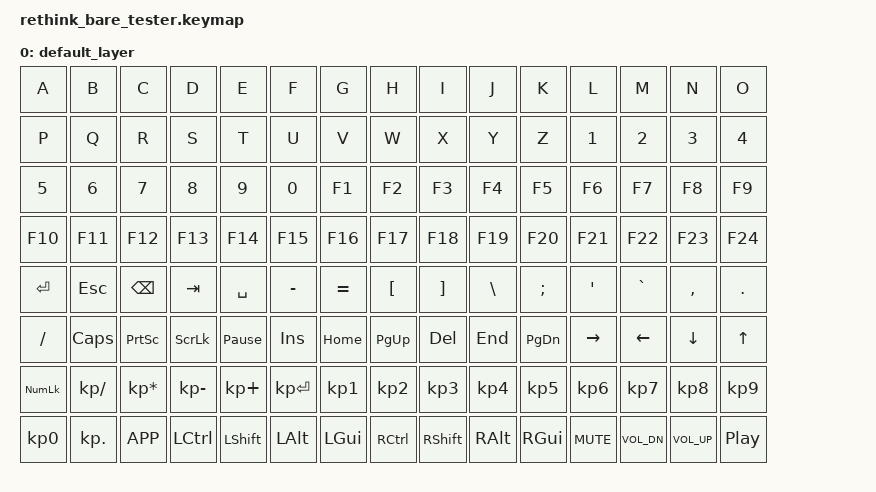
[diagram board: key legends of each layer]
/*
 * Copyright (c) 2026 Ziemniaczenka
 * SPDX-License-Identifier: MIT
 *
 * One distinct key per matrix position, row by row, so any HID key tester
 * shows which KSI/KSO pair was shorted. Row r, column c = position r*15 + c.
 */

#include <behaviors.dtsi>
#include <dt-bindings/zmk/keys.h>

/ {
    keymap {
        compatible = "zmk,keymap";

        default_layer {
            bindings = <
                &kp A           &kp B           &kp C           &kp D           &kp E           &kp F           &kp G           &kp H           &kp I           &kp J           &kp K           &kp L           &kp M           &kp N           &kp O
                &kp P           &kp Q           &kp R           &kp S           &kp T           &kp U           &kp V           &kp W           &kp X           &kp Y           &kp Z           &kp N1          &kp N2          &kp N3          &kp N4
                &kp N5          &kp N6          &kp N7          &kp N8          &kp N9          &kp N0          &kp F1          &kp F2          &kp F3          &kp F4          &kp F5          &kp F6          &kp F7          &kp F8          &kp F9
                &kp F10         &kp F11         &kp F12         &kp F13         &kp F14         &kp F15         &kp F16         &kp F17         &kp F18         &kp F19         &kp F20         &kp F21         &kp F22         &kp F23         &kp F24
                &kp RET         &kp ESC         &kp BSPC        &kp TAB         &kp SPACE       &kp MINUS       &kp EQUAL       &kp LBKT        &kp RBKT        &kp BSLH        &kp SEMI        &kp SQT         &kp GRAVE       &kp COMMA       &kp DOT
                &kp FSLH        &kp CAPS        &kp PSCRN       &kp SLCK        &kp PAUSE_BREAK &kp INS         &kp HOME        &kp PG_UP       &kp DEL         &kp END         &kp PG_DN       &kp RIGHT       &kp LEFT        &kp DOWN        &kp UP
                &kp KP_NUM      &kp KP_DIVIDE   &kp KP_MULTIPLY &kp KP_MINUS    &kp KP_PLUS     &kp KP_ENTER    &kp KP_N1       &kp KP_N2       &kp KP_N3       &kp KP_N4       &kp KP_N5       &kp KP_N6       &kp KP_N7       &kp KP_N8       &kp KP_N9
                &kp KP_N0       &kp KP_DOT      &kp K_APP       &kp LCTRL       &kp LSHFT       &kp LALT        &kp LGUI        &kp RCTRL       &kp RSHFT       &kp RALT        &kp RGUI        &kp C_MUTE      &kp C_VOL_DN    &kp C_VOL_UP    &kp C_PP
            >;
        };
    };
};
